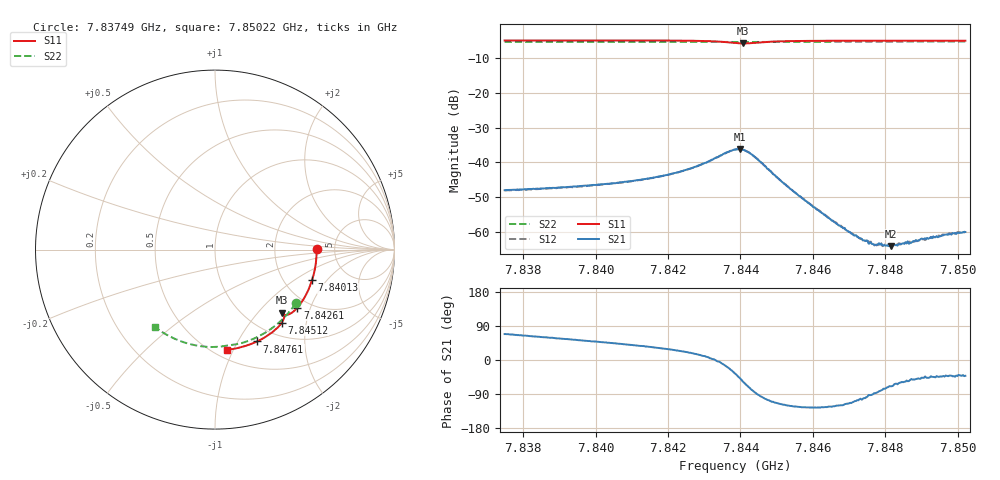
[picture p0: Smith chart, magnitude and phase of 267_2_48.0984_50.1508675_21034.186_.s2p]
#  HZ  S  RI  R  50.00
! Rohde & Schwarz Vector Network Analyzer
! Rohde-Schwarz,ZNB20-2Port,1311601062101988,3.16
! Created: UTC 12/23/2023, 4:01:23 AM
! freq[Hz]  re:S11  im:S11  re:S21  im:S21  re:S12  im:S12  re:S22  im:S22
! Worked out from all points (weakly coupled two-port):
!   401 points, 7.83749 GHz to 7.85022 GHz, reference 50 ohm
!   highest |S21| = -36.14 dB at 7.84398 GHz (marker M1); lowest = -64.1 dB at 7.84815 GHz (marker M2)
!   lowest |S11| = -5.8 dB at 7.84407 GHz (marker M3), VSWR 3.11, Z = 71.5 - j68.2 ohm
!   |S11| at or under -10 dB: nowhere
!   |S22| runs from -5.4 to -5.3 dB; largest |S21 - S12| = 0.00032
!   S11 on the Smith chart (normalised r, x): 7.83749 GHz: 3.61, +0.04; 7.84013 GHz: 2.83, -1.42; 7.84261 GHz: 1.73, -1.63; 7.84512 GHz: 1.24, -1.45; 7.84761 GHz: 0.81, -1.21; 7.85022 GHz: 0.58, -0.95
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7.837487e9  0.5664 0.00365  0.00147 0.0037  0.00146 0.00368  0.4495 -0.299
7.839619e9  0.5502 -0.1374  0.00283 0.0036  0.00278 0.00352  0.3512 -0.4109
7.840128e9  0.5407 -0.1703  0.00327 0.00353  0.00322 0.00354  0.3234 -0.4332
7.841751e9  0.4957 -0.2722  0.00531 0.00329  0.0053 0.00327  0.226 -0.4919
7.84261e9  0.4595 -0.3232  0.00768 0.00267  0.00767 0.00269  0.1695 -0.5141
7.843374e9  0.4118 -0.3606  0.0118 -0.000802  0.0119 -0.000686  0.1176 -0.5275
7.843851e9  0.3769 -0.3599  0.0124 -0.00892  0.0125 -0.00878  0.0856 -0.5321
7.843979e9  0.3737 -0.3549  0.0106 -0.0115  0.0105 -0.0113  0.0775 -0.5332
7.844074e9  0.3743 -0.3515  0.00815 -0.0128  0.00835 -0.0125  0.0717 -0.534
7.84436e9  0.3833 -0.3553  0.00162 -0.0124  0.00162 -0.0123  0.0533 -0.5375
7.845124e9  0.3721 -0.4067  -0.00241 -0.00483  -0.0024 -0.00485  0.000212 -0.5426
7.845983e9  0.3295 -0.4525  -0.00138 -0.00194  -0.00137 -0.00196  -0.0605 -0.5402
7.84697e9  0.2731 -0.4914  -0.000429 -0.000933  -0.000435 -0.000921  -0.129 -0.529
7.847256e9  0.256 -0.5009  -0.000236 -0.0008  -0.000224 -0.000807  -0.1484 -0.5238
7.847606e9  0.2349 -0.5114  -3.13e-05 -0.000708  -2.55e-05 -0.000723  -0.172 -0.5168
7.847765e9  0.2249 -0.5158  4.43e-05 -0.000656  3.38e-05 -0.000638  -0.1825 -0.5134
7.848115e9  0.2032 -0.5249  0.000224 -0.000589  0.000211 -0.000594  -0.2056 -0.5049
7.848147e9  0.2013 -0.5256  0.000221 -0.000586  0.000213 -0.000589  -0.2077 -0.5039
7.84872e9  0.1651 -0.5382  0.000447 -0.000536  0.000456 -0.000594  -0.2445 -0.4875
7.848911e9  0.1527 -0.5418  0.000497 -0.000569  0.000486 -0.000562  -0.2562 -0.4815
7.849642e9  0.1052 -0.5527  0.000664 -0.000632  0.000696 -0.000592  -0.3006 -0.4557
7.850215e9  0.0675 -0.5584  0.000744 -0.000663  0.000758 -0.000684  -0.3336 -0.4326
